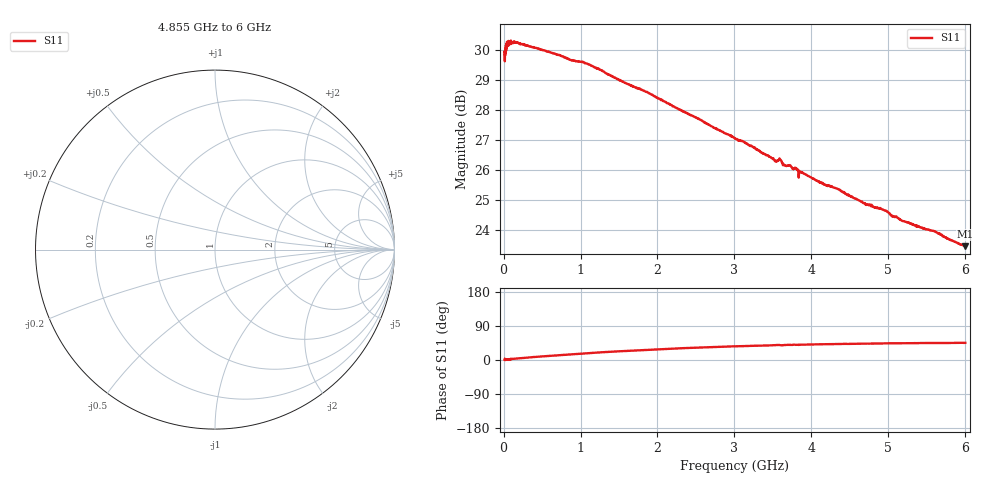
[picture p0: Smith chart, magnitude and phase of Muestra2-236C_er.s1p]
! NanoVNA-UTN-Toolkit permittivity export -- NOT S-parameters
! ES: Permitividad relativa compleja de la muestra. NO es S11: se guarda en
! ES: formato Touchstone solo para poder graficarla con visores de .s1p.
! EN: Complex relative permittivity of the sample. NOT S11: the Touchstone
! EN: format is used only so that .s1p viewers can plot it.
! Columns / Columnas: f (Hz) | eps' | eps'' (loss >= 0); eps_r = eps' - j*eps''
! Sample / Muestra: Muestra2-236C
! Technique / Tecnica: Open-ended coaxial probe (liquids)
! References / Referencias: water + ipa
! Probe / Sonda: 3 mm probe (C0 0.019 pF)
! Temperature / Temperatura: 23.0 °C
! Reliable from 42 MHz: points below are not reliable / Confiable desde 42 MHz: los puntos inferiores no son confiables
! Spike removal replaced 1 isolated S11 point(s) before solving / La remocion de picos reemplazo 1 punto(s) aislado(s) de S11
! 13 point(s) without a solution omitted / 13 punto(s) sin solucion omitidos
! Exported / Exportado: 2026-10-23T18:56:13
# Hz S RI R 50
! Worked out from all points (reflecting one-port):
!   1267 points, 14 MHz to 6 GHz, reference 50 ohm
!   lowest |S11| = 23.4 dB at 5.995 GHz (marker M1)
!   phase of S11 starts at 0 deg and turns +45 deg over the sweep
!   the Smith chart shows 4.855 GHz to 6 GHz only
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1.4e7  31.44 0.1103
2.1e7  31.26 0.4103
2.6e7  31.26 0.086
4.1e7  32.39 0.7842
6.9e7  32.44 1.072
1.55e8  32.51 2.008
2.75e8  32.16 3.306
4.5e8  31.46 4.809
7.65e8  30.06 7.087
1.125e9  28.36 9.421
1.285e9  27.38 10.25
1.515e9  25.91 11.12
1.785e9  24.41 11.91
2.26e9  21.72 12.9
2.51e9  20.54 13.11
3.01e9  18.21 13.21
3.545e9  15.96 13.12
3.575e9  15.89 13.29
3.61e9  16.06 12.96
3.66e9  15.61 12.97
3.76e9  15.32 12.87
4.09e9  14.33 12.6
4.505e9  13.29 12.17
4.7e9  12.77 12
4.985e9  12.24 11.76
5.255e9  11.62 11.39
5.995e9  10.46 10.57
6e9  10.48 10.57
